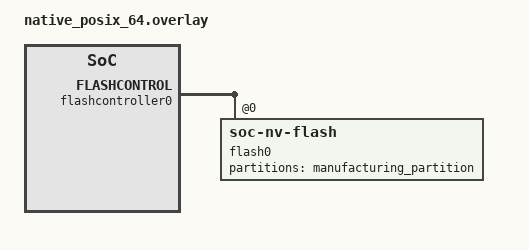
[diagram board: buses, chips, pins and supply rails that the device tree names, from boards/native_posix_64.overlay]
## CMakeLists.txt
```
cmake_minimum_required(VERSION 3.20.0)
set(PROJECT_DIR "${CMAKE_CURRENT_LIST_DIR}/../../../")

# native sim overlay
include("${CMAKE_CURRENT_LIST_DIR}/../boards/native_sim_64/native_sim_64.cmake")

find_package(Zephyr REQUIRED HINTS "${PROJECT_DIR}/firmware/modules/zephyr")
project(test_nvs)

target_sources(app PRIVATE
    "../boards/native_sim_64/pinctrl/pinctrl_sim.c"
    "src/main.c"
    "${PROJECT_DIR}/firmware/src/nvs.c"
)

target_include_directories(app PRIVATE
    "${PROJECT_DIR}/firmware/src"
)

target_compile_options(app PRIVATE -Wall -Werror -fanalyzer -save-temps=obj)
```

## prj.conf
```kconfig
# Device Driver Configs

CONFIG_FLASH=y
CONFIG_FLASH_MAP=y

# Test Configs

CONFIG_ZTEST=y
CONFIG_ZTEST_THREAD_PRIORITY=2

CONFIG_COVERAGE=y
```

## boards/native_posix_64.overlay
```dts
&flashcontroller0 {
    /delete-node/ flash@0;

    flash0: flash@0 {
        status = "okay";
        compatible = "soc-nv-flash";
        erase-block-size = <1>;
        write-block-size = <1>;
        reg = <0x0 0x200>;

        partitions {
            compatible = "fixed-partitions";
            #address-cells = <1>;
            #size-cells = <1>;

            manufacturing_partition: partition@0 {
                reg = <0x0 0x200>;
                read-only;
            };
        };
    };
};
```

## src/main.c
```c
#include <string.h>
#include <zephyr/storage/flash_map.h>
#include <zephyr/ztest.h>

#include "nvs.h"

static const struct flash_area *fa;

static uint8_t nvs_data[] = {
    /* manufacturing tag (0x7A5A, little-endian) */
    0x5A, 0x7A,
    /* manufacturing data version (0x0101, little-endian) */
    0x01, 0x01,
    /* serial number */
    'R', 'P', 'B', '1', '-', '2', '0', '0',
    '0', '1', '2', '3', '4', '5', '6', 'I',
    0, 0, 0, 0, 0, 0, 0, 0,
    0, 0, 0, 0, 0, 0, 0, 0, 
    /* uuid */
    0x20, 0xA0, 0x2F, 0xC2, 0xA7, 0x91, 0x41, 0x4B,
    0xBB, 0x66, 0xC6, 0x40, 0x7E, 0x78, 0xA7, 0x10,
};

ZTEST(nvs, test_nvs_init) {
    /* flash contents are good, should be able to initialize without issue */
    zassert_ok(nvs_init());

    /* invalid tag should produce an -EINVAL error */
    zassert_ok(flash_area_erase(fa, 0, 1));
    zassert_ok(flash_area_write(fa, 0, (uint8_t[]){0xFF}, 1));
    zassert_equal(nvs_init(), -EINVAL);

    /* invalid version should produce an -ENOTSUP error */
    zassert_ok(flash_area_erase(fa, 0, 3));
    zassert_ok(flash_area_write(fa, 0, (uint8_t[]){0x5A, 0x7A, 0xFF}, 3));
    zassert_equal(nvs_init(), -ENOTSUP);

    /* serial numbers which leave no room for a null terminator are also errors */
    zassert_ok(flash_area_erase(fa, 0, 36));
    zassert_ok(flash_area_write(fa, 0, (uint8_t[]){0x5A, 0x7A, 0x01, 0x01}, 4));
    for (int i = 0; i < 32; i++) {
        zassert_ok(flash_area_write(fa, 4 + i, (uint8_t[]){'Z'}, 1));
    }
    zassert_equal(nvs_init(), -EINVAL);
}

ZTEST(nvs, test_nvs_serial) {
    zassert_ok(nvs_init());

    /* too small buffer causes an error */
    uint8_t small_buf[8] = {0};
    zassert_equal(nvs_get_serial_number(small_buf, sizeof(small_buf)), -ENOBUFS);

    uint8_t buf[17] = {0};
    zassert_ok(nvs_get_serial_number(buf, sizeof(buf)));
    zassert_mem_equal(buf, &nvs_data[4], sizeof(buf));
}

ZTEST(nvs, test_nvs_uuid) {
    zassert_ok(nvs_init());

    /* too small buffer causes an error */
    uint8_t small_buf[8] = {0};
    zassert_equal(nvs_get_uuid(small_buf, sizeof(small_buf)), -ENOBUFS);

    uint8_t buf[16] = {0};
    zassert_ok(nvs_get_uuid(buf, sizeof(buf)));
    zassert_mem_equal(buf, &nvs_data[36], sizeof(buf));

    char str[37] = {0};
    zassert_ok(nvs_get_uuid_str(str, sizeof(str)));
    zassert_ok(strcmp(str, "20a02fc2-a791-414b-bb66-c6407e78a710"));
}

ZTEST(nvs, test_nvs_dns_sd) {
    zassert_ok(nvs_init());

    uint8_t expected_dns_sd[] = "\x17serial=RPB1-2000123456I"
                                "\x29uuid=20a02fc2-a791-414b-bb66-c6407e78a710";
    zassert_mem_equal(nvs_dns_txt_record, expected_dns_sd, strlen(expected_dns_sd));
}

static void *nvs_setup(void) {
    zassert_ok(flash_area_open(FIXED_PARTITION_ID(manufacturing_partition), &fa));
    return NULL;
}

static void nvs_before(void *fixture) {
    zassert_ok(flash_area_erase(fa, 0, sizeof(nvs_data)));
    zassert_ok(flash_area_write(fa, 0, nvs_data, sizeof(nvs_data)));
}

ZTEST_SUITE(nvs, NULL, nvs_setup, nvs_before, NULL, NULL);
```
